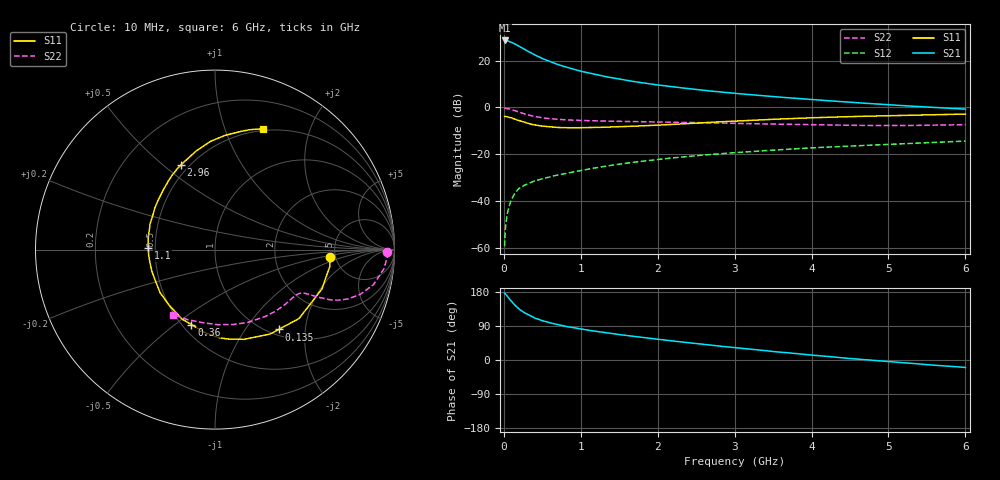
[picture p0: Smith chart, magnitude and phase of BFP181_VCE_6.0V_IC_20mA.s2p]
! Infineon Technologies  Discrete & RF Semiconductors
! BFP181
! VCE = 6.0 V,  IC =  20 mA
! Common Emitter S-Parameters:  Jan 2016
# GHz  S  MA  R  50
!  f  S11  S21  S12  S22
! GHz  MAG  ANG  MAG  ANG  MAG  ANG  MAG  ANG
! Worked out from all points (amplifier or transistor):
!   210 points, 10 MHz to 6 GHz, reference 50 ohm
!   highest |S21| = 28.6 dB at 10 MHz (marker M1)
!   |S21| within 3 dB of that: start of sweep to 226 MHz
!   unconditionally stable (mu >= 1): 764.3 MHz to end of sweep
!   at 185 MHz: K = 0.39, MSG = 30.7 dB, |S12| = -35.0 dB
!   at 1.52 GHz: K = 1.20, MAG = 15.4 dB, |S12| = -24.1 dB
!   at 6 GHz: K = 1.01, MAG = 6.1 dB, |S12| = -14.3 dB
!   S11 on the Smith chart (normalised r, x): 10 MHz: 4.50, -0.67; 135 MHz: 1.10, -1.45; 360 MHz: 0.56, -0.57; 1.1 GHz: 0.46, +0.01; 2.96 GHz: 0.45, +0.58; 6 GHz: 0.48, +1.36
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0.01  0.6429 -3.9  26.93 176.6  0.0011 72.1  0.9584 -0.9
0.05  0.6348 -20.3  26.46 166.5  0.0059 81.3  0.9464 -6.6
0.1  0.6054 -39.4  24.53 154.2  0.011 72.1  0.9039 -12.5
0.135  0.569 -51.4  23 146.7  0.014 67.3  0.8643 -15.6
0.15  0.5617 -56.9  22.47 143.2  0.0153 65.8  0.8482 -17.0
0.2  0.5252 -72.2  20.25 134.3  0.0189 62.5  0.7933 -20.2
0.26  0.4914 -87.2  17.68 125.7  0.0216 57.9  0.7358 -22.5
0.3  0.4672 -96.4  16.25 121.0  0.0232 56.9  0.7031 -23.5
0.36  0.438 -107.4  14.41 115.4  0.0255 55.9  0.667 -24.1
0.4  0.4284 -115.4  13.28 110.9  0.0271 55.3  0.643 -24.6
0.5  0.401 -130.0  11.07 103.7  0.0301 53.5  0.6029 -25.1
0.6  0.3886 -142.0  9.547 98.0  0.0332 54.2  0.5767 -25.5
0.8  0.372 -161.3  7.346 88.9  0.0389 54.8  0.5462 -26.2
1.02  0.3709 -176.7  5.853 81.1  0.0457 55.2  0.5275 -27.8
1.1  0.3723 178.6  5.47 78.4  0.0486 55.6  0.5224 -28.4
1.5  0.3888 158.7  4.038 67.1  0.0615 54.9  0.5066 -32.7
2.02  0.4215 138.2  2.998 54.4  0.0784 52.5  0.4919 -39.8
2.96  0.5085 111.9  2.036 33.5  0.1074 46.2  0.4606 -55.3
3.1  0.5207 108.7  1.942 30.8  0.1115 45.2  0.4552 -57.9
4.1  0.6099 90.8  1.441 11.3  0.1402 37.2  0.4261 -78.5
5.1  0.6745 77.6  1.118 -5.7  0.1663 29.7  0.4125 -101.7
6  0.7235 68.5  0.923 -19.7  0.1917 22.2  0.4312 -122.8
